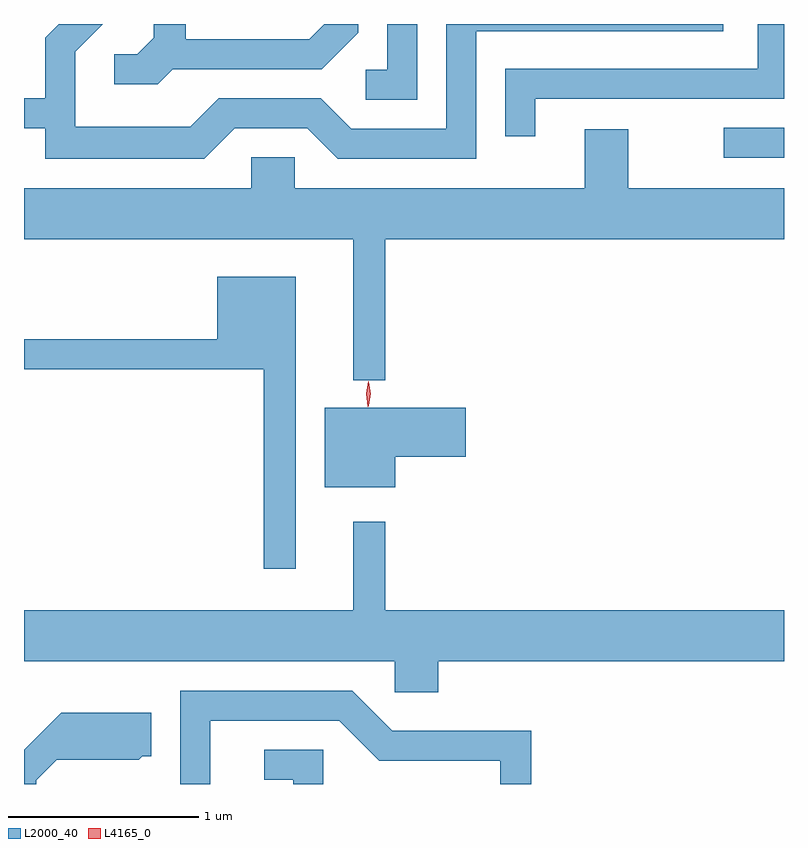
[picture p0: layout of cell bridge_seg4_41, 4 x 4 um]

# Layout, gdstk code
import gdstk
lib = gdstk.Library(unit=1e-6, precision=1e-09)
def R(c, l, rs):  # rectangles x0, y0, x1, y1
    for r in rs: c.add(gdstk.rectangle(r[:2], r[2:], *l))
def P(c, l, *ps):  # polygons
    for p in ps: c.add(gdstk.Polygon(p, *l))
L2000_40 = (2000, 40)
L4165_0 = (4165, 0)

bridge_seg4_41 = lib.new_cell('bridge_seg4_41')
R(bridge_seg4_41, L2000_40, [(1280.603,1372.866,1280.919,1373.024)])
P(bridge_seg4_41, L2000_40, [(1278.027,1373.021),(1278.409,1373.021),(1278.569,1372.861),(1279.299,1372.861),(1279.299,1373.531),(1280.599,1373.531),(1280.599,1373.569),(1279.141,1373.569),(1279.141,1373.019),(1278.642,1373.019),(1278.482,1373.179),(1277.944,1373.179),(1277.794,1373.029),(1277.189,1373.029),(1277.189,1373.424),(1277.334,1373.569),(1277.103,1373.569),(1277.031,1373.497),(1277.031,1373.179),(1276.919,1373.179),(1276.919,1373.021),(1277.031,1373.021),(1277.031,1372.861),(1277.867,1372.861)],
  [(1278.989,1373.569),(1278.831,1373.569),(1278.831,1373.329),(1278.718,1373.329),(1278.718,1373.171),(1278.989,1373.171)],
  [(1277.702,1373.331),(1278.487,1373.331),(1278.679,1373.524),(1278.679,1373.569),(1278.498,1373.569),(1278.419,1373.489),(1277.769,1373.489),(1277.769,1373.569),(1277.601,1373.569),(1277.601,1373.497),(1277.514,1373.409),(1277.393,1373.409),(1277.393,1373.251),(1277.622,1373.251)],
  [(1279.609,1373.176),(1280.919,1373.176),(1280.919,1373.569),(1280.781,1373.569),(1280.781,1373.334),(1279.451,1373.334),(1279.451,1372.978),(1279.609,1372.978)],
  [(1278.819,1372.436),(1280.919,1372.436),(1280.919,1372.704),(1280.099,1372.704),(1280.099,1373.014),(1279.871,1373.014),(1279.871,1372.704),(1278.344,1372.704),(1278.344,1372.869),(1278.116,1372.869),(1278.116,1372.704),(1276.919,1372.704),(1276.919,1372.436),(1278.651,1372.436),(1278.651,1371.693),(1278.819,1371.693)],
  [(1278.349,1372.239),(1277.936,1372.239),(1277.936,1371.909),(1276.919,1371.909),(1276.919,1371.751),(1278.181,1371.751),(1278.181,1370.703),(1278.349,1370.703)],
  [(1278.874,1371.291),(1279.244,1371.291),(1279.244,1371.549),(1278.501,1371.549),(1278.501,1371.131),(1278.874,1371.131)],
  [(1279.099,1370.216),(1280.919,1370.216),(1280.919,1370.484),(1278.819,1370.484),(1278.819,1370.948),(1278.651,1370.948),(1278.651,1370.484),(1276.919,1370.484),(1276.919,1370.216),(1278.871,1370.216),(1278.871,1370.051),(1279.099,1370.051)],
  [(1277.899,1369.901),(1278.579,1369.901),(1278.789,1369.691),(1279.426,1369.691),(1279.426,1369.569),(1279.589,1369.569),(1279.589,1369.849),(1278.857,1369.849),(1278.647,1370.059),(1277.741,1370.059),(1277.741,1369.569),(1277.899,1369.569)],
  [(1276.984,1369.589),(1277.092,1369.696),(1277.522,1369.696),(1277.542,1369.716),(1277.589,1369.716),(1277.589,1369.944),(1277.114,1369.944),(1276.919,1369.75),(1276.919,1369.569),(1276.984,1369.569)],
  [(1278.494,1369.749),(1278.183,1369.749),(1278.183,1369.591),(1278.336,1369.591),(1278.336,1369.569),(1278.494,1369.569)])
P(bridge_seg4_41, L4165_0, [(1278.729,1371.554),(1278.721,1371.622),(1278.731,1371.69),(1278.732,1371.69),(1278.732,1371.69),(1278.741,1371.622),(1278.73,1371.554),(1278.73,1371.554)],
  [(1278.733,1371.56),(1278.733,1371.56),(1278.723,1371.623),(1278.733,1371.686),(1278.733,1371.687),(1278.734,1371.686),(1278.743,1371.623),(1278.734,1371.56)])

lib.write_gds('bridge_seg4_41.gds')
